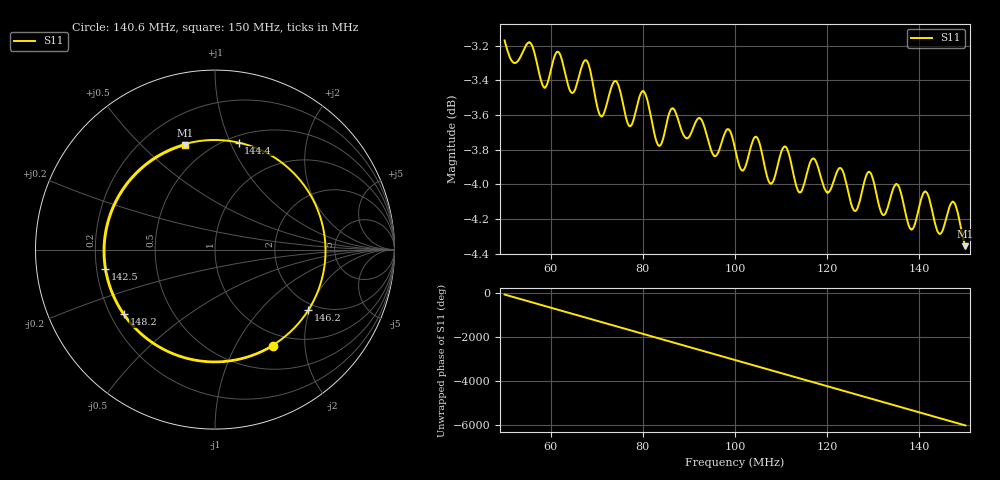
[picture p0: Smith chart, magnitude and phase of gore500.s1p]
! COPPER MOUNTAIN TECHNOLOGIES, PLANAR TR1300/1, 00090118, 19.1.1/1.0
! Date: 11/26/2019 3:52:40 PM
! Data: Format [Calibration Info]
! Freq  S11: Re/Im F1
# HZ S RI R 50
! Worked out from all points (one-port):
!   2001 points, 50 MHz to 150 MHz, reference 50 ohm
!   lowest |S11| = -4.4 dB at 150 MHz (marker M1), VSWR 4.07, Z = 18.6 + j34.2 ohm
!   |S11| at or under -10 dB: nowhere
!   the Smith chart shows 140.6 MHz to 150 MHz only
!   S11 on the Smith chart (normalised r, x): 140.6 MHz: 0.82, -1.44; 142.5 MHz: 0.23, -0.08; 144.4 MHz: 0.57, +1.07; 146.2 MHz: 1.79, -1.96; 148.2 MHz: 0.26, -0.30; 150 MHz: 0.37, +0.68
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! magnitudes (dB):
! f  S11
! 50 MHz  -3.2
! 55.65 MHz  -3.2
! 58.6 MHz  -3.4
! 62.5 MHz  -3.3
! 64.7 MHz  -3.5
! 67.9 MHz  -3.3
! 70.9 MHz  -3.6
! 75 MHz  -3.5
! 77.2 MHz  -3.7
! 80.35 MHz  -3.5
! 83.5 MHz  -3.8
! 87.5 MHz  -3.6
! 100 MHz  -3.8
! 112.5 MHz  -3.9
! 117.2 MHz  -3.9
! 120.2 MHz  -4.0
! 123 MHz  -3.9
! 125 MHz  -4.1
! 129.2 MHz  -3.9
! 131.9 MHz  -4.2
! 135.2 MHz  -4.0
! 137.5 MHz  -4.2
! 140.6 MHz  -4.1
! 142.5 MHz  -4.1
! 144.4 MHz  -4.3
! 146.2 MHz  -4.2
! 148.2 MHz  -4.1
! 150 MHz  -4.4
